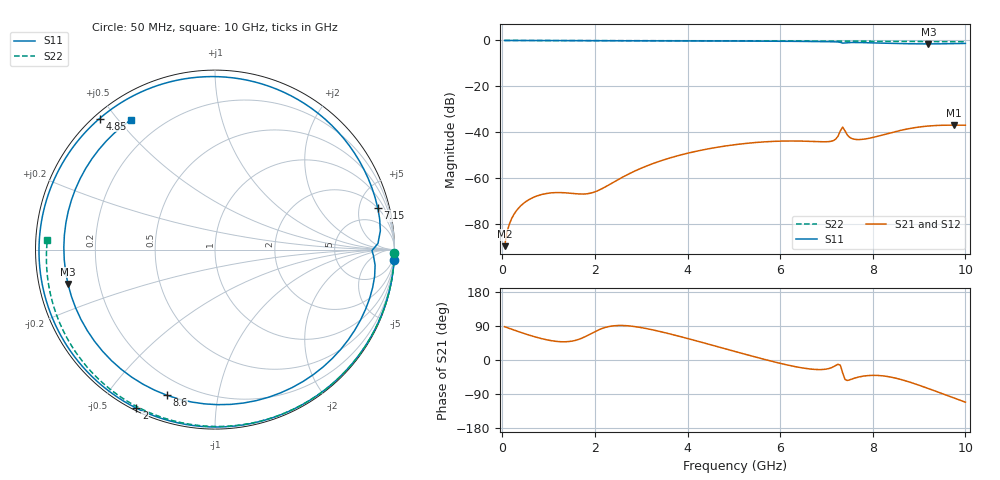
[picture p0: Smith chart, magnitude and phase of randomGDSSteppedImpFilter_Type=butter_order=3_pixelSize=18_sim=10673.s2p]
! freq	dB(S11)	phase(S11)	dB(S12)	phase(S12)
!  dB(S21)	phase(S21)	dB(S22)	phase(S22)
!S-par simulation data
#  GHz  S  DB  R 50
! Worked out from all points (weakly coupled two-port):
!   200 points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, 50 MHz to 10 GHz, reference 50 ohm
!   highest |S21| = -36.89 dB at 9.75 GHz (marker M1); lowest = -89.6 dB at 50 MHz (marker M2)
!   lowest |S11| = -1.5 dB at 9.2 GHz (marker M3), VSWR 11.60, Z = 4.37 - j5.73 ohm
!   |S11| at or under -10 dB: nowhere
!   |S22| runs from -0.6 to 0.0 dB; largest |S21 - S12| = 0
!   S11 on the Smith chart (normalised r, x): 50 MHz: 0, -34; 2 GHz: 0.01, -0.62; 4.85 GHz: 0.02, +0.45; 7.15 GHz: 1.99, +7.44; 8.6 GHz: 0.12, -0.71; 10 GHz: 0.10, +0.54
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0.05  -0.00 -3.4  -89.62 87.8  -89.62 87.8  -0.00 -1.1
0.45  -0.04 -29.8  -71.11 70.8  -71.11 70.8  -0.01 -9.7
0.75  -0.06 -48.8  -67.73 59.5  -67.73 59.5  -0.02 -16.2
1.25  -0.09 -78.2  -66.27 48.3  -66.27 48.3  -0.03 -26.8
1.75  -0.11 -104.4  -66.90 59.3  -66.90 59.3  -0.05 -37.2
2  -0.12 -116.4  -65.95 74.9  -65.95 74.9  -0.05 -42.4
2.7  -0.14 -146.8  -58.48 90.4  -58.48 90.4  -0.07 -56.5
3.4  -0.16 -174.1  -52.59 75.3  -52.59 75.3  -0.09 -70.1
4.1  -0.19 159.9  -48.67 53.5  -48.67 53.5  -0.11 -83.2
4.85  -0.24 131.4  -45.88 28.4  -45.88 28.4  -0.14 -96.8
5.05  -0.25 123.4  -45.34 21.7  -45.34 21.7  -0.15 -100.3
5.95  -0.33 84.0  -43.89 -7.3  -43.89 -7.3  -0.20 -115.8
6.7  -0.46 43.8  -44.00 -24.4  -44.00 -24.4  -0.25 -128.3
7.15  -0.57 14.3  -43.63 -18.0  -43.63 -18.0  -0.28 -135.7
7.35  -1.16 -0.4  -37.75 -34.1  -37.75 -34.1  -0.30 -139.0
7.5  -0.90 -9.5  -42.19 -52.5  -42.19 -52.5  -0.31 -141.4
7.75  -0.93 -30.0  -43.12 -43.5  -43.12 -43.5  -0.33 -145.5
8.35  -1.24 -84.2  -40.43 -44.2  -40.43 -44.2  -0.39 -155.4
8.6  -1.37 -108.4  -39.17 -51.2  -39.17 -51.2  -0.41 -159.5
9.2  -1.50 -166.8  -37.28 -75.3  -37.28 -75.3  -0.48 -169.5
9.75  -1.39 143.5  -36.89 -100.0  -36.89 -100.0  -0.55 -178.9
10  -1.29 122.8  -36.92 -111.3  -36.92 -111.3  -0.58 176.7
